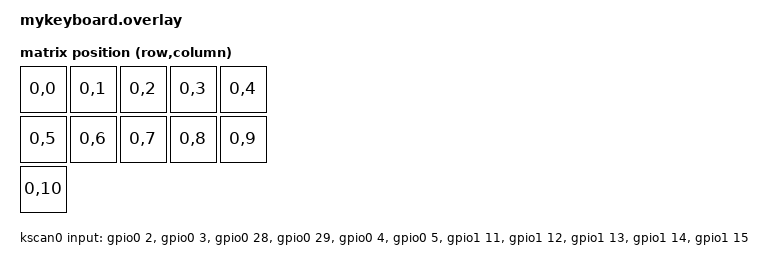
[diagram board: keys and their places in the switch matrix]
#include <dt-bindings/zmk/matrix_transform.h>

/ {
    chosen {
        zmk,kscan = &kscan0;
        zmk,matrix_transform = &default_transform;
    };

    default_transform: keymap_transform_0 {
        compatible = "zmk,matrix-transform";
        columns = <11>;
        rows = <1>;
        map = 
            RC(0,0) RC(0,1) RC(0,2) RC(0,3) RC(0,4)
            RC(0,5) RC(0,6) RC(0,7) RC(0,8) RC(0,9)
            RC(0,10)
        >;
    };

    kscan0: kscan {
        compatible = "zmk,kscan-gpio-direct";
        input-gpios
            = <&gpio0 2  (GPIO_ACTIVE_LOW | GPIO_PULL_UP)>  /* D0  */
            , <&gpio0 3  (GPIO_ACTIVE_LOW | GPIO_PULL_UP)>  /* D1  */
            , <&gpio0 28 (GPIO_ACTIVE_LOW | GPIO_PULL_UP)>  /* D2  */
            , <&gpio0 29 (GPIO_ACTIVE_LOW | GPIO_PULL_UP)>  /* D3  */
            , <&gpio0 4  (GPIO_ACTIVE_LOW | GPIO_PULL_UP)>  /* D4  */
            , <&gpio0 5  (GPIO_ACTIVE_LOW | GPIO_PULL_UP)>  /* D5  */
            , <&gpio1 11 (GPIO_ACTIVE_LOW | GPIO_PULL_UP)>  /* D6  */
            , <&gpio1 12 (GPIO_ACTIVE_LOW | GPIO_PULL_UP)>  /* D7  */
            , <&gpio1 13 (GPIO_ACTIVE_LOW | GPIO_PULL_UP)>  /* D8  */
            , <&gpio1 14 (GPIO_ACTIVE_LOW | GPIO_PULL_UP)>  /* D9  */
            , <&gpio1 15 (GPIO_ACTIVE_LOW | GPIO_PULL_UP)>  /* D10 */
            ;
    };

    leds {
        compatible = "gpio-leds";
        led_red: led_0 {
            gpios = <&gpio0 26 GPIO_ACTIVE_LOW>;  /* 赤LED */
        };
        led_green: led_1 {
            gpios = <&gpio0 30 GPIO_ACTIVE_LOW>;  /* 緑LED */
        };
        led_blue: led_2 {
            gpios = <&gpio0 6  GPIO_ACTIVE_LOW>;  /* 青LED */
        };
    };

    aliases {
        led0 = &led_red;
        led1 = &led_green;
        led2 = &led_blue;
    };
};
